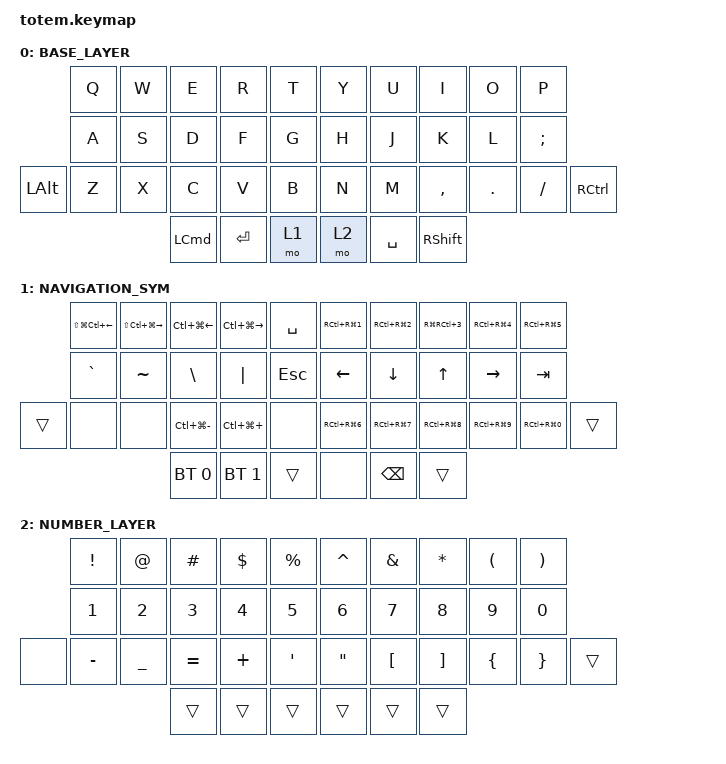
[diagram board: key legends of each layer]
//
//                                                        ▀▀▀▀▀     ▀▀▀▀▀          ▀▀█▀▀
//                                                        ▄▀▀▀▄  ▄  ▄▀▀▀▄  ▄  ▄▀▀▀▄  █  ▄▀▀▀▄
//                                                        █   █  █  █   █  █  █   █  █  █   █
//                                                         ▀▀▀   █   ▀▀▀   █   ▀▀▀   ▀   ▀▀▀
//                                                               █      ▄▄▄█▄▄▄    █   █  
//                                                               ▀      █  █  █     █▄█
//                                                             ▀▀▀▀▀    █  █  █      ▀
//                                                                      ▀  ▀  ▀
//
// ▄▄▄▄▄▄▄▄▄▄▄▄▄▄▄▄▄▄▄▄▄▄▄▄▄▄▄▄▄▄▄▄▄▄▄▄▄▄▄▄▄▄▄▄▄▄▄▄▄▄▄▄▄▄▄▄▄▄▄▄▄▄▄▄▄▄▄▄▄▄▄▄▄▄▄▄▄▄▄▄▄▄▄▄▄▄▄▄▄▄▄▄▄▄▄▄▄▄▄▄▄▄▄▄▄▄▄▄▄▄▄▄▄▄▄▄▄▄▄▄▄▄▄▄▄▄▄▄▄▄▄▄▄▄▄▄▄▄▄▄▄▄▄▄▄▄▄▄▄

#include <behaviors.dtsi>
#include <dt-bindings/zmk/bt.h>
#include <dt-bindings/zmk/keys.h>

#define BASE 0
#define NAV  1
#define SYM  2
#define ADJ  3
#define TVP1 4
#define TVP2 5

/ {
    combos { compatible = "zmk,combos"; };

    keymap {
        compatible = "zmk,keymap";

        // ▄▄▄▄▄▄▄▄▄▄▄▄▄▄▄▄▄▄▄▄▄▄▄▄▄▄▄▄▄▄▄▄▄▄▄▄▄▄▄▄▄▄▄▄▄▄▄▄▄▄▄▄▄▄▄▄▄▄▄▄▄▄▄▄▄▄▄▄▄▄▄▄▄▄▄▄▄▄▄▄▄▄▄▄▄▄▄▄▄▄▄▄▄▄▄▄▄▄▄▄▄▄▄▄▄▄▄▄▄▄▄▄▄▄▄▄▄▄▄▄▄▄▄▄▄▄▄▄▄▄▄▄▄▄▄▄▄▄▄▄▄▄▄▄▄▄▄▄▄

        base_layer {
            // ┏━━━━━━━━━━━━━━━━━━━━━━━━━━━━━━━━━━━━━━━┓

            label = "BASE_LAYER";

            // ┗━━━━━━━━━━━━━━━━━━━━━━━━━━━━━━━━━━━━━━━┛
            //             ┏━━━━━━━━━━━┳━━━━━━━━━━━┳━━━━━━━━━━━┳━━━━━━━━━━━┳━━━━━━━━━━━┓   ┏━━━━━━━━━━━┳━━━━━━━━━━━┳━━━━━━━━━━━┳━━━━━━━━━━━┳━━━━━━━━━━━┓
            //             ┃     Q     ┃     W     ┃     F     ┃     P     ┃     G     ┃   ┃     J     ┃     L     ┃     U     ┃     Y     ┃     ;     ┃
            //             ┣━━━━━━━━━━━╋━━━━━━━━━━━╋━━━━━━━━━━━╋━━━━━━━━━━━╋━━━━━━━━━━━┫   ┣━━━━━━━━━━━╋━━━━━━━━━━━╋━━━━━━━━━━━╋━━━━━━━━━━━╋━━━━━━━━━━━┫
            //             ┃     A     ┃     R     ┃     S     ┃     T     ┃     D     ┃   ┃     H     ┃     N     ┃     E     ┃     I     ┃     O     ┃
            // ┏━━━━━━━━━━━╋━━━━━━━━━━━╋━━━━━━━━━━━╋━━━━━━━━━━━╋━━━━━━━━━━━╋━━━━━━━━━━━┫   ┣━━━━━━━━━━━╋━━━━━━━━━━━╋━━━━━━━━━━━╋━━━━━━━━━━━╋━━━━━━━━━━━╋━━━━━━━━━━━┓
            // ┃     Q     ┃     Z     ┃     X     ┃     C     ┃     V     ┃     B     ┃   ┃     K     ┃     M     ┃     ,     ┃     .     ┃     /     ┃     \     ┃
            // ┗━━━━━━━━━━━┻━━━━━━━━━━━┻━━━━━━━━━━━╋━━━━━━━━━━━╋━━━━━━━━━━━╋━━━━━━━━━━━┫   ┣━━━━━━━━━━━╋━━━━━━━━━━━╋━━━━━━━━━━━╋━━━━━━━━━━━┻━━━━━━━━━━━┻━━━━━━━━━━━┛
            //                                     ┃    DEL    ┃    TAB    ┃    SPC    ┃   ┃   ENTER   ┃           ┃   BSPC    ┃
            //                                     ┗━━━━━━━━━━━┻━━━━━━━━━━━┻━━━━━━━━━━━┛   ┗━━━━━━━━━━━┻━━━━━━━━━━━┻━━━━━━━━━━━┛

            bindings = <
              &kp Q  &kp W  &kp E     &kp R      &kp T    &kp Y  &kp U      &kp I            &kp O       &kp P
              &kp A  &kp S  &kp D     &kp F      &kp G    &kp H  &kp J      &kp K            &kp L       &kp SEMI
&kp LEFT_ALT  &kp Z  &kp X  &kp C     &kp V      &kp B    &kp N  &kp M      &kp COMMA        &kp PERIOD  &kp SLASH  &kp RIGHT_CONTROL
                            &kp LCMD  &kp ENTER  &mo 1    &mo 2  &kp SPACE  &kp RIGHT_SHIFT
            >;
        };

        navigation_layer {
            // ┏━━━━━━━━━━━━━━━━━━━━━━━━━━━━━━━━━━━━━━━┓

            label = "NAVIGATION_SYM";

            // ┗━━━━━━━━━━━━━━━━━━━━━━━━━━━━━━━━━━━━━━━┛
            //             ┏━━━━━━━━━━━┳━━━━━━━━━━━┳━━━━━━━━━━━┳━━━━━━━━━━━┳━━━━━━━━━━━┓   ┏━━━━━━━━━━━┳━━━━━━━━━━━┳━━━━━━━━━━━┳━━━━━━━━━━━┳━━━━━━━━━━━┓
            //             ┃     !     ┃     @     ┃     #     ┃     $     ┃     %     ┃   ┃     ˆ     ┃     &     ┃     Ü     ┃     '     ┃     "     ┃
            //             ┣━━━━━━━━━━━╋━━━━━━━━━━━╋━━━━━━━━━━━╋━━━━━━━━━━━╋━━━━━━━━━━━┫   ┣━━━━━━━━━━━╋━━━━━━━━━━━╋━━━━━━━━━━━╋━━━━━━━━━━━╋━━━━━━━━━━━┫
            //             ┃     Ä     ┃           ┃    SZ     ┃           ┃           ┃   ┃   MUTE    ┃   YEN     ┃   EURO    ┃  POUND    ┃     Ö     ┃
            // ┏━━━━━━━━━━━╋━━━━━━━━━━━╋━━━━━━━━━━━╋━━━━━━━━━━━╋━━━━━━━━━━━╋━━━━━━━━━━━┫   ┣━━━━━━━━━━━╋━━━━━━━━━━━╋━━━━━━━━━━━╋━━━━━━━━━━━╋━━━━━━━━━━━╋━━━━━━━━━━━┓
            // ┃           ┃  EMAIL1   ┃  EMAIL2   ┃           ┃           ┃           ┃   ┃   VOL-    ┃   VOL+    ┃   LAST    ┃   NEXT    ┃     \     ┃           ┃
            // ┗━━━━━━━━━━━┻━━━━━━━━━━━┻━━━━━━━━━━━╋━━━━━━━━━━━╋━━━━━━━━━━━╋━━━━━━━━━━━┫   ┣━━━━━━━━━━━╋━━━━━━━━━━━╋━━━━━━━━━━━╋━━━━━━━━━━━┻━━━━━━━━━━━┻━━━━━━━━━━━┛
            //                                     ┃           ┃    GIF    ┃    ADJ    ┃   ┃           ┃           ┃           ┃
            //                                     ┗━━━━━━━━━━━┻━━━━━━━━━━━┻━━━━━━━━━━━┛   ┗━━━━━━━━━━━┻━━━━━━━━━━━┻━━━━━━━━━━━┛

            bindings = <
        &kp LS(LG(LC(LEFT)))  &kp LS(LC(LG(RIGHT)))  &kp LC(LG(LEFT))   &kp LC(LG(RIGHT))  &kp SPACE     &kp RC(RG(NUMBER_1))  &kp RC(RG(NUMBER_2))  &kp RG(RC(NUMBER_3))  &kp RC(RG(NUMBER_4))  &kp RC(RG(N5))
        &kp GRAVE             &kp TILDE              &kp BACKSLASH      &kp PIPE           &kp ESCAPE    &kp LEFT              &kp DOWN_ARROW        &kp UP_ARROW          &kp RIGHT             &kp TAB
&trans  &none                 &none                  &kp LC(LG(MINUS))  &kp LC(LG(PLUS))   &none         &kp RC(RG(NUMBER_6))  &kp RC(RG(N7))        &kp RC(RG(N8))        &kp RC(RG(NUMBER_9))  &kp RC(RG(NUMBER_0))  &trans
                                                     &bt BT_SEL 0       &bt BT_SEL 1       &trans        &none                 &kp BACKSPACE         &trans
            >;
        };

        number_layer {
            // ┏━━━━━━━━━━━━━━━━━━━━━━━━━━━━━━━━━━━━━━━┓

            label = "NUMBER_LAYER";

            // ┗━━━━━━━━━━━━━━━━━━━━━━━━━━━━━━━━━━━━━━━┛
            //             ┏━━━━━━━━━━━┳━━━━━━━━━━━┳━━━━━━━━━━━┳━━━━━━━━━━━┳━━━━━━━━━━━┓   ┏━━━━━━━━━━━┳━━━━━━━━━━━┳━━━━━━━━━━━┳━━━━━━━━━━━┳━━━━━━━━━━━┓
            //             ┃           ┃           ┃     UP    ┃           ┃     {     ┃   ┃     }     ┃     7     ┃     8     ┃     9     ┃     +     ┃
            //             ┣━━━━━━━━━━━╋━━━━━━━━━━━╋━━━━━━━━━━━╋━━━━━━━━━━━╋━━━━━━━━━━━┫   ┣━━━━━━━━━━━╋━━━━━━━━━━━╋━━━━━━━━━━━╋━━━━━━━━━━━╋━━━━━━━━━━━┫
            //             ┃   SHIFT   ┃   LEFT    ┃    DOWN   ┃   RIGHT   ┃     [     ┃   ┃     ]     ┃     4     ┃     5     ┃     6     ┃     -     ┃
            // ┏━━━━━━━━━━━╋━━━━━━━━━━━╋━━━━━━━━━━━╋━━━━━━━━━━━╋━━━━━━━━━━━╋━━━━━━━━━━━┫   ┣━━━━━━━━━━━╋━━━━━━━━━━━╋━━━━━━━━━━━╋━━━━━━━━━━━╋━━━━━━━━━━━╋━━━━━━━━━━━┓
            // ┃           ┃           ┃   P UP    ┃  C LOCK   ┃  P DOWN   ┃     (     ┃   ┃     )     ┃     1     ┃     2     ┃     3     ┃     *     ┃           ┃
            // ┗━━━━━━━━━━━┻━━━━━━━━━━━┻━━━━━━━━━━━╋━━━━━━━━━━━╋━━━━━━━━━━━╋━━━━━━━━━━━┫   ┣━━━━━━━━━━━╋━━━━━━━━━━━╋━━━━━━━━━━━╋━━━━━━━━━━━┻━━━━━━━━━━━┻━━━━━━━━━━━┛
            //                                     ┃           ┃    TAB    ┃    SPC    ┃   ┃    DEL    ┃     0     ┃           ┃
            //                                     ┗━━━━━━━━━━━┻━━━━━━━━━━━┻━━━━━━━━━━━┛   ┗━━━━━━━━━━━┻━━━━━━━━━━━┻━━━━━━━━━━━┛

            bindings = <
       &kp EXCLAMATION  &kp AT_SIGN     &kp POUND     &kp DOLLAR    &kp PERCENT     &kp CARET          &kp AMPERSAND     &kp ASTERISK       &kp LEFT_PARENTHESIS  &kp RIGHT_PARENTHESIS
       &kp NUMBER_1     &kp NUMBER_2    &kp NUMBER_3  &kp NUMBER_4  &kp NUMBER_5    &kp NUMBER_6       &kp NUMBER_7      &kp NUMBER_8       &kp NUMBER_9          &kp NUMBER_0
&none  &kp MINUS        &kp UNDERSCORE  &kp EQUAL     &kp PLUS      &kp SQT         &kp DOUBLE_QUOTES  &kp LEFT_BRACKET  &kp RIGHT_BRACKET  &kp LEFT_BRACE        &kp RIGHT_BRACE        &trans
                                        &trans        &trans        &trans          &trans             &trans            &trans
            >;
        };

        // ▄▄▄▄▄▄▄▄▄▄▄▄▄▄▄▄▄▄▄▄▄▄▄▄▄▄▄▄▄▄▄▄▄▄▄▄▄▄▄▄▄▄▄▄▄▄▄▄▄▄▄▄▄▄▄▄▄▄▄▄▄▄▄▄▄▄▄▄▄▄▄▄▄▄▄▄▄▄▄▄▄▄▄▄▄▄▄▄▄▄▄▄▄▄▄▄▄▄▄▄▄▄▄▄▄▄▄▄▄▄▄▄▄▄▄▄▄▄▄▄▄▄▄▄▄▄▄▄▄▄▄▄▄▄▄▄▄▄▄▄▄▄▄▄▄▄▄▄▄
        // ▄▄▄▄▄▄▄▄▄▄▄▄▄▄▄▄▄▄▄▄▄▄▄▄▄▄▄▄▄▄▄▄▄▄▄▄▄▄▄▄▄▄▄▄▄▄▄▄▄▄▄▄▄▄▄▄▄▄▄▄▄▄▄▄▄▄▄▄▄▄▄▄▄▄▄▄▄▄▄▄▄▄▄▄▄▄▄▄▄▄▄▄▄▄▄▄▄▄▄▄▄▄▄▄▄▄▄▄▄▄▄▄▄▄▄▄▄▄▄▄▄▄▄▄▄▄▄▄▄▄▄▄▄▄▄▄▄▄▄▄▄▄▄▄▄▄▄▄▄
        // ▄▄▄▄▄▄▄▄▄▄▄▄▄▄▄▄▄▄▄▄▄▄▄▄▄▄▄▄▄▄▄▄▄▄▄▄▄▄▄▄▄▄▄▄▄▄▄▄▄▄▄▄▄▄▄▄▄▄▄▄▄▄▄▄▄▄▄▄▄▄▄▄▄▄▄▄▄▄▄▄▄▄▄▄▄▄▄▄▄▄▄▄▄▄▄▄▄▄▄▄▄▄▄▄▄▄▄▄▄▄▄▄▄▄▄▄▄▄▄▄▄▄▄▄▄▄▄▄▄▄▄▄▄▄▄▄▄▄▄▄▄▄▄▄▄▄▄▄▄
    };
};
